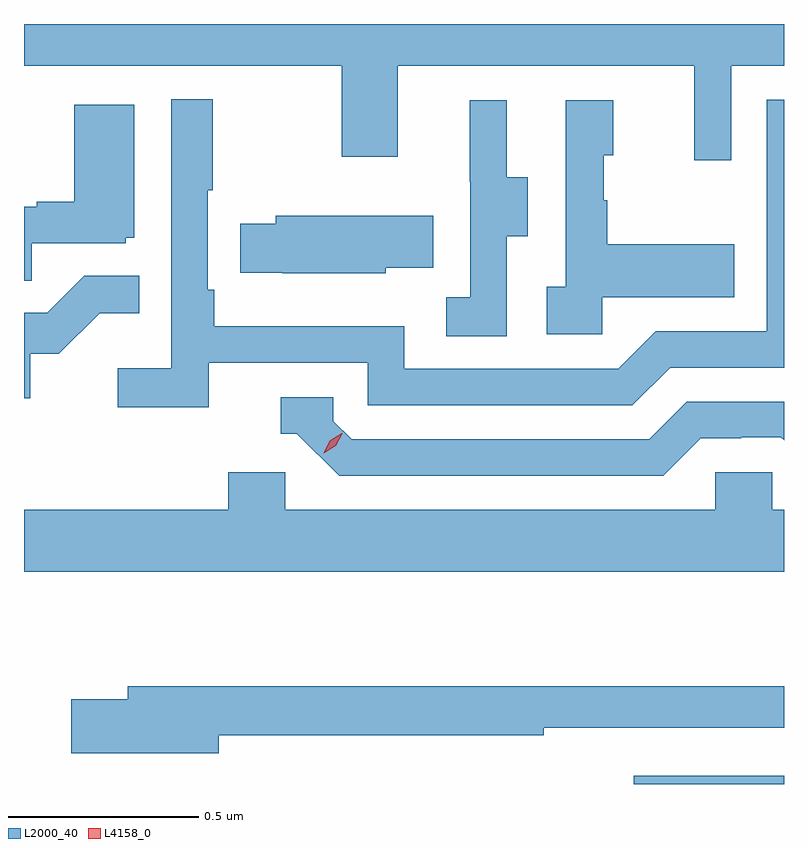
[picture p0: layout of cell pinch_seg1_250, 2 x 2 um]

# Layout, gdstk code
import gdstk
lib = gdstk.Library(unit=1e-6, precision=1e-09)
def R(c, l, rs):  # rectangles x0, y0, x1, y1
    for r in rs: c.add(gdstk.rectangle(r[:2], r[2:], *l))
def P(c, l, *ps):  # polygons
    for p in ps: c.add(gdstk.Polygon(p, *l))
L2000_40 = (2000, 40)
L4158_0 = (4158, 0)

pinch_seg1_250 = lib.new_cell('pinch_seg1_250')
R(pinch_seg1_250, L2000_40, [(911.183,569.822,911.578,569.844)])
P(pinch_seg1_250, L2000_40, [(911.439,571.712),(911.578,571.712),(911.578,571.822),(909.578,571.822),(909.578,571.712),(910.414,571.712),(910.414,571.473),(910.561,571.473),(910.561,571.712),(911.342,571.712),(911.342,571.464),(911.439,571.464)],
  [(910.064,570.93),(910.482,570.93),(910.482,570.819),(911.179,570.819),(911.278,570.918),(911.578,570.918),(911.578,571.623),(911.532,571.623),(911.532,571.014),(911.241,571.014),(911.142,570.915),(910.578,570.915),(910.578,571.027),(910.079,571.027),(910.079,571.123),(910.062,571.123),(910.062,571.384),(910.075,571.384),(910.075,571.624),(909.966,571.624),(909.966,570.916),(909.825,570.916),(909.825,570.814),(910.064,570.814)],
  [(911.1,571.103),(911.447,571.103),(911.447,571.243),(911.113,571.243),(911.113,571.358),(911.103,571.358),(911.103,571.476),(911.128,571.476),(911.128,571.621),(911.004,571.621),(911.004,571.13),(910.953,571.13),(910.953,571.005),(911.1,571.005)],
  [(910.848,571.264),(910.903,571.264),(910.903,571.419),(910.849,571.419),(910.849,571.621),(910.751,571.621),(910.751,571.407),(910.752,571.407),(910.752,571.103),(910.689,571.103),(910.689,571),(910.848,571)],
  [(909.599,571.245),(909.846,571.245),(909.846,571.26),(909.868,571.26),(909.868,571.609),(909.71,571.609),(909.71,571.354),(909.611,571.354),(909.611,571.341),(909.578,571.341),(909.578,571.147),(909.599,571.147)],
  [(910.53,571.181),(910.655,571.181),(910.655,571.318),(910.241,571.318),(910.241,571.296),(910.147,571.296),(910.147,571.167),(910.258,571.167),(910.258,571.166),(910.53,571.166)],
  [(909.594,570.954),(909.67,570.954),(909.777,571.061),(909.881,571.061),(909.881,571.16),(909.737,571.16),(909.639,571.062),(909.578,571.062),(909.578,570.837),(909.594,570.837)],
  [(911.359,570.732),(911.466,570.732),(911.466,570.735),(911.569,570.735),(911.578,570.726),(911.578,570.828),(911.322,570.828),(911.223,570.729),(910.44,570.729),(910.392,570.777),(910.392,570.84),(910.253,570.84),(910.253,570.744),(910.296,570.744),(910.407,570.633),(911.26,570.633)],
  [(911.578,570.544),(911.547,570.544),(911.547,570.642),(911.397,570.642),(911.397,570.544),(910.266,570.544),(910.266,570.642),(910.115,570.642),(910.115,570.544),(909.578,570.544),(909.578,570.38),(911.578,570.38)],
  [(910.09,569.95),(910.946,569.95),(910.946,569.97),(911.578,569.97),(911.578,570.079),(909.851,570.079),(909.851,570.045),(909.702,570.045),(909.702,569.903),(910.09,569.903)])
P(pinch_seg1_250, L4158_0, [(910.367,570.692),(910.367,570.693),(910.383,570.725),(910.414,570.745),(910.415,570.745),(910.415,570.744),(910.398,570.712),(910.367,570.692)])

lib.write_gds('pinch_seg1_250.gds')
